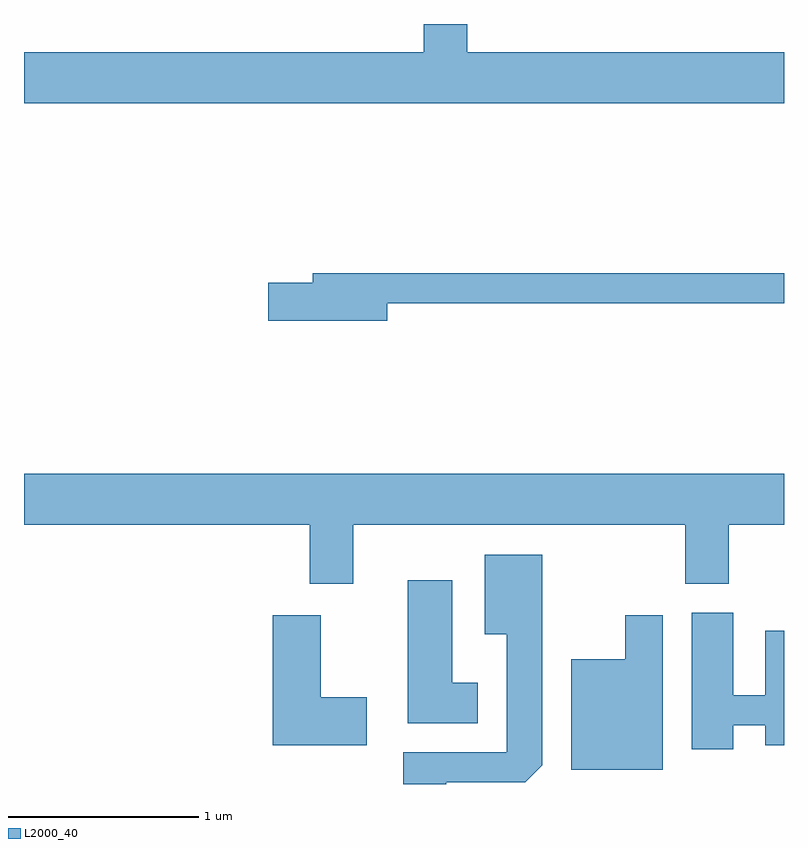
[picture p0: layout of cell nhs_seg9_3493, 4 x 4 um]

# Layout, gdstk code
import gdstk
lib = gdstk.Library(unit=1e-6, precision=1e-09)
def P(c, l, *ps):  # polygons
    for p in ps: c.add(gdstk.Polygon(p, *l))
L2000_40 = (2000, 40)

nhs_seg9_3493 = lib.new_cell('nhs_seg9_3493')
P(nhs_seg9_3493, L2000_40, [(291.611,2014.284),(289.944,2014.284),(289.944,2014.432),(289.716,2014.432),(289.716,2014.284),(287.611,2014.284),(287.611,2014.016),(291.611,2014.016)],
  [(289.524,2012.961),(291.611,2012.961),(291.611,2013.119),(289.131,2013.119),(289.131,2013.069),(288.896,2013.069),(288.896,2012.871),(289.524,2012.871)],
  [(289.344,2011.796),(291.091,2011.796),(291.091,2011.486),(291.319,2011.486),(291.319,2011.796),(291.611,2011.796),(291.611,2012.064),(287.611,2012.064),(287.611,2011.796),(289.116,2011.796),(289.116,2011.486),(289.344,2011.486)],
  [(289.834,2010.441),(290.249,2010.441),(290.339,2010.532),(290.339,2011.639),(290.036,2011.639),(290.036,2011.221),(290.151,2011.221),(290.151,2010.599),(289.606,2010.599),(289.606,2010.432),(289.834,2010.432)],
  [(289.999,2010.964),(289.864,2010.964),(289.864,2011.504),(289.631,2011.504),(289.631,2010.751),(289.999,2010.751)],
  [(291.344,2010.741),(291.511,2010.741),(291.511,2010.636),(291.611,2010.636),(291.611,2011.239),(291.511,2011.239),(291.511,2010.899),(291.344,2010.899),(291.344,2011.334),(291.126,2011.334),(291.126,2010.616),(291.344,2010.616)],
  [(289.414,2010.889),(289.174,2010.889),(289.174,2011.319),(288.921,2011.319),(288.921,2010.636),(289.414,2010.636)],
  [(290.974,2011.319),(290.776,2011.319),(290.776,2011.089),(290.491,2011.089),(290.491,2010.506),(290.974,2010.506)])

lib.write_gds('nhs_seg9_3493.gds')
